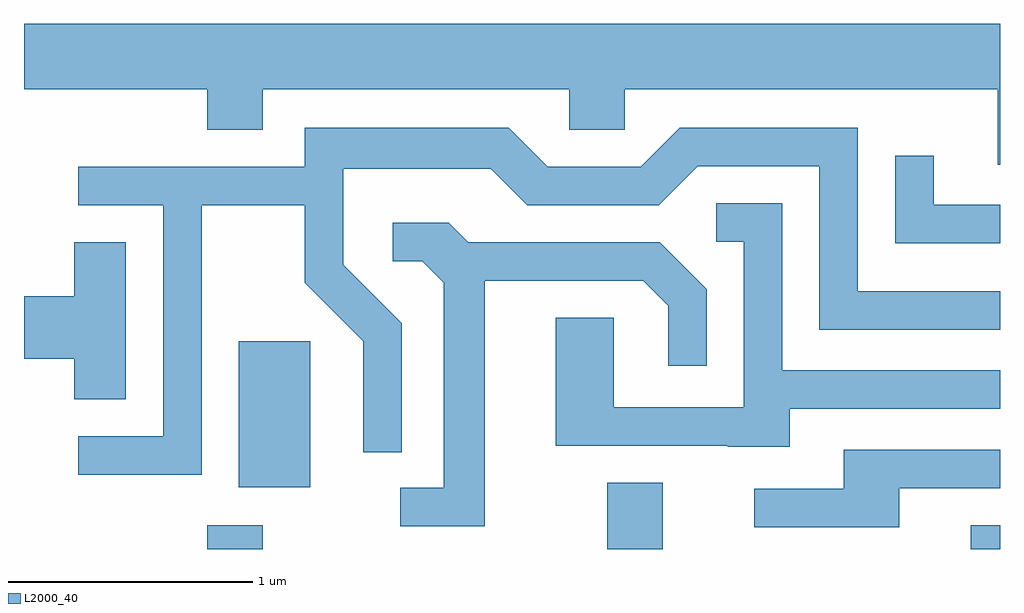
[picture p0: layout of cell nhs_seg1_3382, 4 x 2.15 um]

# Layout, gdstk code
import gdstk
lib = gdstk.Library(unit=1e-6, precision=1e-09)
def R(c, l, rs):  # rectangles x0, y0, x1, y1
    for r in rs: c.add(gdstk.rectangle(r[:2], r[2:], *l))
def P(c, l, *ps):  # polygons
    for p in ps: c.add(gdstk.Polygon(p, *l))
L2000_40 = (2000, 40)

nhs_seg1_3382 = lib.new_cell('nhs_seg1_3382')
R(nhs_seg1_3382, L2000_40, [(288.361,877.712,288.589,877.809), (290.001,877.712,290.229,877.984), (291.491,877.712,291.611,877.809), (288.491,877.966,288.784,878.564)])
P(nhs_seg1_3382, L2000_40, [(291.611,879.864),(287.611,879.864),(287.611,879.596),(288.361,879.596),(288.361,879.431),(288.589,879.431),(288.589,879.596),(289.846,879.596),(289.846,879.431),(290.074,879.431),(290.074,879.596),(291.601,879.596),(291.601,879.286),(291.611,879.286)],
  [(288.339,879.121),(288.761,879.121),(288.761,878.804),(289.001,878.564),(289.001,878.108),(289.159,878.108),(289.159,878.637),(288.919,878.877),(288.919,879.271),(289.524,879.271),(289.674,879.121),(290.212,879.121),(290.372,879.281),(290.871,879.281),(290.871,878.611),(291.611,878.611),(291.611,878.769),(291.029,878.769),(291.029,879.439),(290.299,879.439),(290.139,879.279),(289.757,879.279),(289.597,879.439),(288.761,879.439),(288.761,879.279),(287.833,879.279),(287.833,879.121),(288.181,879.121),(288.181,878.174),(287.833,878.174),(287.833,878.016),(288.339,878.016)],
  [(291.611,879.124),(291.339,879.124),(291.339,879.323),(291.181,879.323),(291.181,878.966),(291.611,878.966)],
  [(290.749,878.286),(291.611,878.286),(291.611,878.444),(290.719,878.444),(290.719,879.129),(290.448,879.129),(290.448,878.971),(290.561,878.971),(290.561,878.294),(290.029,878.294),(290.029,878.659),(289.791,878.659),(289.791,878.136),(290.495,878.136),(290.495,878.131),(290.749,878.131)],
  [(289.499,878.811),(290.149,878.811),(290.251,878.709),(290.251,878.463),(290.409,878.463),(290.409,878.777),(290.217,878.969),(289.432,878.969),(289.352,879.049),(289.123,879.049),(289.123,878.891),(289.244,878.891),(289.331,878.804),(289.331,877.964),(289.153,877.964),(289.153,877.806),(289.499,877.806)],
  [(288.029,878.969),(287.816,878.969),(287.816,878.749),(287.611,878.749),(287.611,878.491),(287.816,878.491),(287.816,878.326),(288.029,878.326)],
  [(291.199,877.961),(291.611,877.961),(291.611,878.119),(290.971,878.119),(290.971,877.959),(290.603,877.959),(290.603,877.801),(291.199,877.801)])

lib.write_gds('nhs_seg1_3382.gds')
